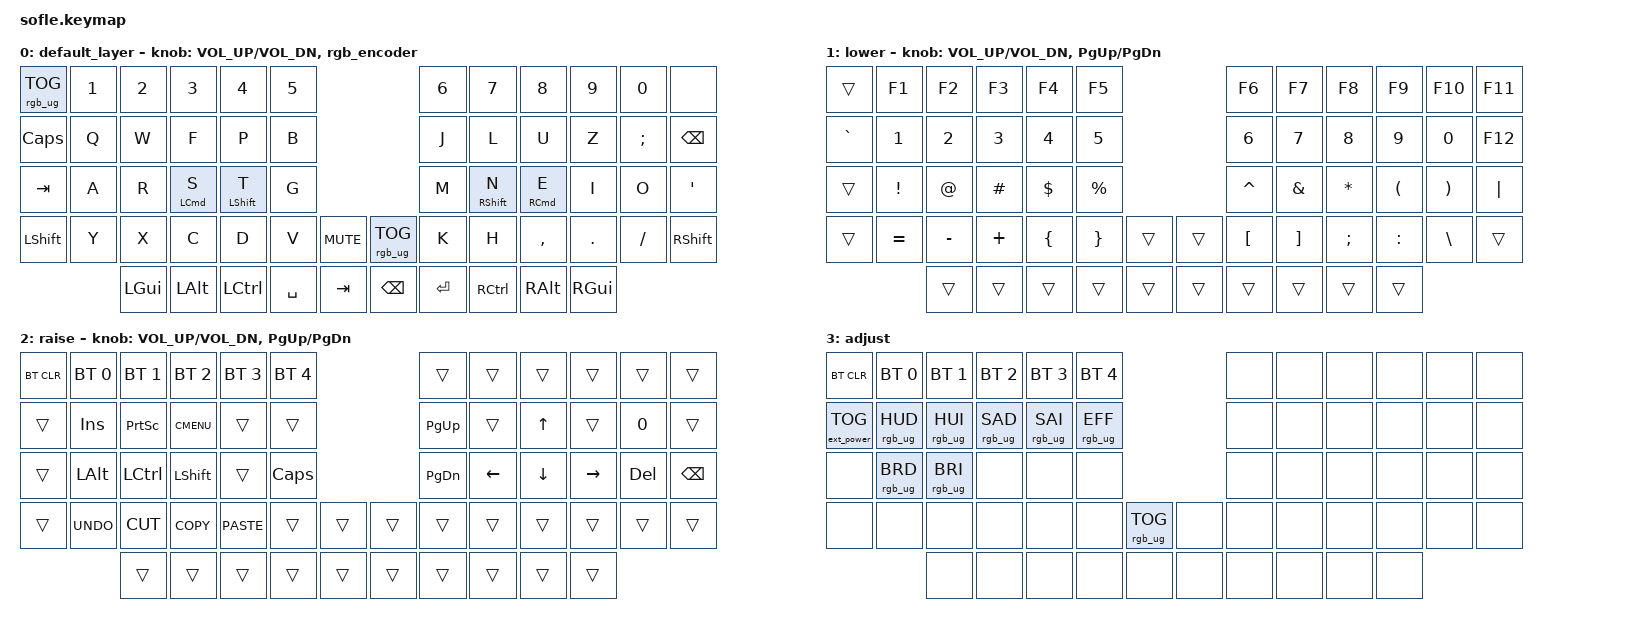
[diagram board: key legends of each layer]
/*
 * Copyright (c) 2020 The ZMK Contributors
 *
 * SPDX-License-Identifier: MIT
 */

#include <behaviors.dtsi>
#include <dt-bindings/zmk/keys.h>
#include <dt-bindings/zmk/bt.h>
#include <dt-bindings/zmk/rgb.h>
#include <dt-bindings/zmk/ext_power.h>

/*
 * Temporarily here because nice nano v2 spi is not defined on ZMK Yet
 * Source: https://github.com/zmkfirmware/zmk/blob/main/app/boards/shields/reviung41/boards/nice_nano.overlay
 * GitHub Issue: https://github.com/zmkfirmware/zmk/issues/885
 */

#include <dt-bindings/led/led.h>

&pinctrl {
    spi3_default: spi3_default {
        group1 {
            psels = <NRF_PSEL(SPIM_MOSI, 0, 8)>;
        };
    };

    spi3_sleep: spi3_sleep {
        group1 {
            psels = <NRF_PSEL(SPIM_MOSI, 0, 8)>;
            low-power-enable;
        };
    };
};

&spi3 {
    compatible = "nordic,nrf-spim";
    status = "okay";

    pinctrl-0 = <&spi3_default>;
    pinctrl-1 = <&spi3_sleep>;
    pinctrl-names = "default", "sleep";

    led_strip: ws2812@0 {
        compatible = "worldsemi,ws2812-spi";
        label = "WS2812";

        /* SPI */
        reg = <0>; /* ignored, but necessary for SPI bindings */
        spi-max-frequency = <4000000>;

        /* WS2812 */
        chain-length = <30>;
        spi-one-frame = <0x70>;
        spi-zero-frame = <0x40>;

        color-mapping = <LED_COLOR_ID_GREEN LED_COLOR_ID_RED LED_COLOR_ID_BLUE>;
    };
};

/ {
    chosen {
        zmk,underglow = &led_strip;
    };
};

/* END temporary RGB support section */

#define BASE 0
#define LOWER 1
#define RAISE 2
#define ADJUST 3

/ {

    behaviors {
        rgb_encoder: rgb_encoder {
            compatible = "zmk,behavior-sensor-rotate";
            #sensor-binding-cells = <0>;
            bindings = <&rgb_ug RGB_BRI>, <&rgb_ug RGB_BRD>;
        };
    };

   // Activate ADJUST layer by pressing raise and lower
    conditional_layers {
        compatible = "zmk,conditional-layers";
        adjust_layer {
            if-layers = <LOWER RAISE>;
            then-layer = <ADJUST>;
        };
    };

    keymap {
        compatible = "zmk,keymap";

default_layer {
// ------------------------------------------------------------------------------------------------------------------
// | RGB_TOG |  1  |  2  |  3   |  4   |  5   |                         |  6   |  7    |  8    |  9   |   0   |       |
// | CAPS    |  Q  |  W  |  F   |  P   |  B   |                         |  J   |  L    |  U    |  Z   |   ;   | BKSPC |
// |  TAB    |  A  |  R  |  S   |  T   |  G   |                         |  M   |  N    |  E    |  I   |   O   |   '   |
// | SHIFT   |  Y  |  X  |  C   |  D   |  V   |  MUTE  |        | RGB   |  K   |  H    |  ,    |  .   |   /   | SHIFT |
//               | GUI | ALT  | CTRL | SPACE|  TAB   |        | BKSPC | ENTER| CTRL  | ALT   | GUI  |
            bindings = <
&rgb_ug RGB_TOG &kp N1 &kp N2   &kp N3   &kp N4    &kp N5                              &kp N6 &kp N7    &kp N8    &kp N9   &kp N0   &none
&kp CAPS        &kp Q  &kp W    &kp F    &kp P     &kp B                               &kp J  &kp L     &kp U     &kp Z    &kp SEMI &kp BSPC
&kp TAB         &kp A  &kp R    &mt LCMD S &mt LSHIFT T &kp G                          &kp M  &mt RSHIFT N &mt RCMD E &kp I &kp O    &kp SQT
&kp LSHFT       &kp Y  &kp X    &kp C    &kp D     &kp V  &kp C_MUTE &rgb_ug RGB_TOG &kp K  &kp H     &kp COMMA &kp DOT  &kp FSLH &kp RSHFT
                 &kp LGUI &kp LALT &kp LCTRL &kp SPC &kp TAB    &kp BSPC         &kp RET &kp RCTRL &kp RALT  &kp RGUI
            >;

            sensor-bindings = <&inc_dec_kp C_VOL_UP C_VOL_DN &rgb_encoder>;
        };

        lower_layer {
            display-name = "lower";
// TODO: Some binds are waiting for shifted keycode support.
// ------------------------------------------------------------------------------------------------------------
// |       |  F1 |  F2 |  F3  |  F4  |  F5  |                   |  F6  |  F7   |  F8   |  F9  |  F10  |  F11  |
// |   `   |  1  |  2  |  3   |  4   |  5   |                   |  6   |  7    |  8    |  9   |   0   |  F12  |
// |       |  !  |  @  |  #   |  $   |  %   |                   |  ^   |  &    |  *    |  (   |   )   |   |   |
// |       |  =  |  -  |  +   |  {   |  }   |        |  |       |  [   |  ]    |  ;    |  :   |   \   |       |
//               |     |      |      |      |        |  |       |      |       |       |      |
            bindings = <
&trans    &kp F1    &kp F2    &kp F3      &kp F4    &kp F5                    &kp F6    &kp F7   &kp F8    &kp F9    &kp F10   &kp F11
&kp GRAVE &kp N1    &kp N2    &kp N3      &kp N4    &kp N5                    &kp N6    &kp N7   &kp N8    &kp N9    &kp N0    &kp F12
&trans    &kp EXCL  &kp AT    &kp HASH    &kp DLLR  &kp PRCNT                 &kp CARET &kp AMPS &kp ASTRK &kp LPAR  &kp RPAR  &kp PIPE
&trans    &kp EQUAL &kp MINUS &kp PLUS &kp LBRC  &kp RBRC   &trans &trans  &kp LBKT  &kp RBKT &kp SEMI  &kp COLON &kp BSLH  &trans
                    &trans    &trans      &trans    &trans     &trans &trans  &trans    &trans   &trans    &trans
            >;

            sensor-bindings = <&inc_dec_kp C_VOL_UP C_VOL_DN &inc_dec_kp PG_UP PG_DN>;
        };

        raise_layer {
            display-name = "raise";
// ------------------------------------------------------------------------------------------------------------
// | BTCLR | BT1  | BT2  |  BT3  |  BT4  |  BT5 |                |      |      |       |      |       |       |
// |       | INS  | PSCR | GUI   |       |      |                | PGUP |      |   ^   |      |       |       |
// |       | ALT  | CTRL | SHIFT |       | CAPS |                | PGDN |   <- |   v   |  ->  |  DEL  | BKSPC |
// |       | UNDO | CUT  | COPY  | PASTE |      |      |  |      |      |      |       |      |       |       |
//                |      |       |       |      |      |  |      |      |      |       |      |
            bindings = <
&bt BT_CLR &bt BT_SEL 0 &bt BT_SEL 1 &bt BT_SEL 2 &bt BT_SEL 3 &bt BT_SEL 4                  &trans    &trans    &trans   &trans    &trans  &trans
&trans     &kp INS      &kp PSCRN    &kp K_CMENU  &trans       &trans                        &kp PG_UP &trans    &kp UP   &trans    &kp N0  &trans
&trans     &kp LALT     &kp LCTRL    &kp LSHFT    &trans       &kp CLCK                      &kp PG_DN &kp LEFT  &kp DOWN &kp RIGHT &kp DEL &kp BSPC
&trans     &kp K_UNDO   &kp K_CUT    &kp K_COPY   &kp K_PASTE  &trans        &trans  &trans  &trans    &trans    &trans   &trans    &trans  &trans
                        &trans       &trans       &trans       &trans        &trans  &trans  &trans    &trans    &trans   &trans
            >;

            sensor-bindings = <&inc_dec_kp C_VOL_UP C_VOL_DN &inc_dec_kp PG_UP PG_DN>;
        };

        adjust_layer {
// ----------------------------------------------------------------------------------------------------------------------------
// | BTCLR  |  BT1    |  BT2    |   BT3   |   BT4   |   BT5   |                  |      |      |       |      |       |       |
// | EXTPWR | RGB_HUD | RGB_HUI | RGB_SAD | RGB_SAI | RGB_EFF |                  |      |      |       |      |       |       |
// |        | RGB_BRD | RGB_BRI |         |         |         |                  |      |      |       |      |       |       |
// |        |         |         |         |         |         | RGB_TOG | |      |      |      |       |      |       |       |
//                    |         |         |         |         |         | |      |      |      |       |      |
            display-name = "adjust";
            bindings = <
&bt BT_CLR        &bt BT_SEL 0    &bt BT_SEL 1    &bt BT_SEL 2    &bt BT_SEL 3    &bt BT_SEL 4                            &none &none &none &none &none &none
&ext_power EP_TOG &rgb_ug RGB_HUD &rgb_ug RGB_HUI &rgb_ug RGB_SAD &rgb_ug RGB_SAI &rgb_ug RGB_EFF                         &none &none &none &none &none &none
&none             &rgb_ug RGB_BRD &rgb_ug RGB_BRI &none           &none           &none                                   &none &none &none &none &none &none
&none             &none           &none           &none           &none           &none            &rgb_ug RGB_TOG &none  &none &none &none &none &none &none
                                  &none           &none           &none           &none            &none           &none  &none &none &none &none
            >;
        };

    };
};
